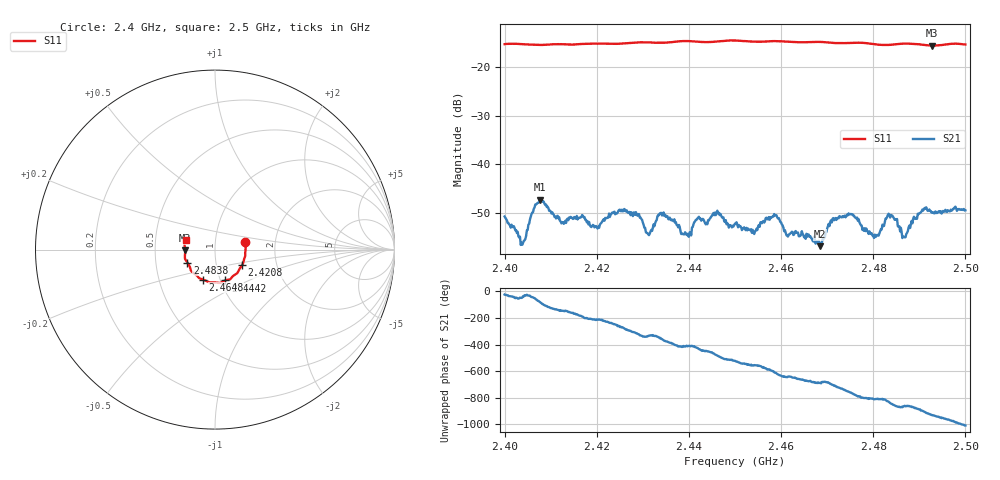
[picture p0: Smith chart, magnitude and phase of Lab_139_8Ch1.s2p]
# Hz S RI R 50
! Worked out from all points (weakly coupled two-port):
!   601 points, 2.4 GHz to 2.5 GHz, reference 50 ohm
!   highest |S21| = -47.27 dB at 2.4077 GHz (marker M1); lowest = -56.8 dB at 2.4685 GHz (marker M2)
!   lowest |S11| = -15.6 dB at 2.4928 GHz (marker M3), VSWR 1.40, Z = 35.8 - j0.363 ohm
!   |S11| at or under -10 dB: start of sweep to end of sweep
!   S12 and S22 are empty: the file has one direction only
!   S11 on the Smith chart (normalised r, x): 2.4 GHz: 1.40, +0.12; 2.4208 GHz: 1.33, -0.24; 2.4442 GHz: 1.05, -0.37; 2.4648 GHz: 0.83, -0.29; 2.4838 GHz: 0.73, -0.11; 2.5 GHz: 0.72, +0.08
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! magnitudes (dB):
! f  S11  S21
! 2.4 GHz  -15.3  -50.7
! 2.404 GHz  -15.3  -56.2
! 2.4077 GHz  -15.4  -47.3
! 2.4167 GHz  -15.2  -50.8
! 2.4208 GHz  -15.2  -52.2
! 2.4262 GHz  -15.1  -49.4
! 2.4312 GHz  -14.9  -54.4
! 2.4333 GHz  -15.0  -50.4
! 2.44 GHz  -14.6  -54.9
! 2.4442 GHz  -14.9  -51.5
! 2.45 GHz  -14.5  -52.2
! 2.4587 GHz  -14.7  -50.5
! 2.4648 GHz  -14.9  -54.5
! 2.4667 GHz  -14.8  -55.3
! 2.4685 GHz  -14.8  -56.8
! 2.4717 GHz  -15.0  -51.2
! 2.4807 GHz  -15.3  -54.7
! 2.4833 GHz  -15.4  -50.2
! 2.4838 GHz  -15.4  -50.4
! 2.4868 GHz  -15.2  -55.0
! 2.4928 GHz  -15.6  -50.0
! 2.5 GHz  -15.3  -49.5
